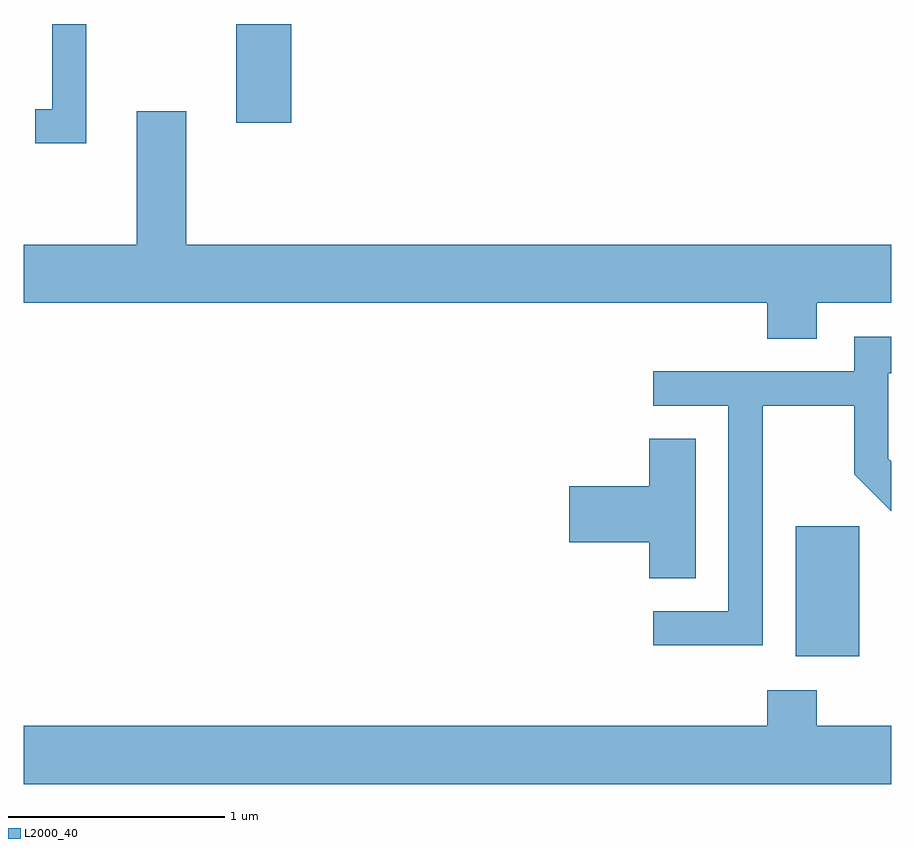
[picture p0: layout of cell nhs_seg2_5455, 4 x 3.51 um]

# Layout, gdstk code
import gdstk
lib = gdstk.Library(unit=1e-6, precision=1e-09)
def R(c, l, rs):  # rectangles x0, y0, x1, y1
    for r in rs: c.add(gdstk.rectangle(r[:2], r[2:], *l))
def P(c, l, *ps):  # polygons
    for p in ps: c.add(gdstk.Polygon(p, *l))
L2000_40 = (2000, 40)

nhs_seg2_5455 = lib.new_cell('nhs_seg2_5455')
R(nhs_seg2_5455, L2000_40, [(349.171,1068.886,349.464,1069.484), (346.591,1071.346,346.844,1071.802)])
P(nhs_seg2_5455, L2000_40, [(345.899,1071.802),(345.741,1071.802),(345.741,1071.409),(345.663,1071.409),(345.663,1071.251),(345.899,1071.251)],
  [(349.269,1070.516),(349.611,1070.516),(349.611,1070.784),(346.359,1070.784),(346.359,1071.399),(346.131,1071.399),(346.131,1070.784),(345.611,1070.784),(345.611,1070.516),(349.041,1070.516),(349.041,1070.351),(349.269,1070.351)],
  [(349.019,1070.041),(349.441,1070.041),(349.441,1069.724),(349.611,1069.554),(349.611,1069.785),(349.599,1069.797),(349.599,1070.191),(349.611,1070.191),(349.611,1070.359),(349.441,1070.359),(349.441,1070.199),(348.513,1070.199),(348.513,1070.041),(348.861,1070.041),(348.861,1069.094),(348.513,1069.094),(348.513,1068.936),(349.019,1068.936)],
  [(348.709,1069.889),(348.496,1069.889),(348.496,1069.669),(348.126,1069.669),(348.126,1069.411),(348.496,1069.411),(348.496,1069.246),(348.709,1069.246)],
  [(349.611,1068.564),(349.269,1068.564),(349.269,1068.729),(349.041,1068.729),(349.041,1068.564),(345.611,1068.564),(345.611,1068.296),(349.611,1068.296)])

lib.write_gds('nhs_seg2_5455.gds')
